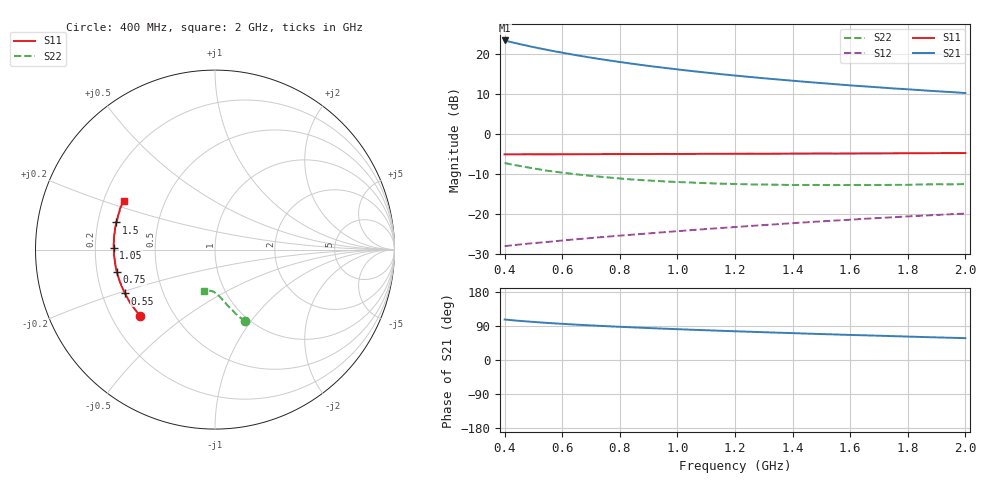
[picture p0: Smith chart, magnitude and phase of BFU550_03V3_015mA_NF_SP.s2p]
! Filename:  P:\Prog\Test\Noise\ATS_data\Testdata_Net\06 Compressed Noise after Statistics\BFU550_APG2013_43_D05_03p3V_015mA_NF_CM01_D.sf
! Date/Time: Fri 26/Apr/2013 13:07:20
! BFU550_APG2013_43_D05_03p3V_1to35mA_NF_CM01_Bias6_R.sf
! Noise Parameter Data File
! BFU550_APG2013_43_D05_03p3V_1to35mA_NF_CM01
! Date/time: Thu Apr 25 15:07:57 2013
! VAR V_out= 3.300000
! VAR I_out= 14.995000
! VAR V_in= 0.838700
! VAR I_in= 0.169000
! Device data file deembeded for feedlines and parallel
! Original file: \06 Compressed Noise after Statistics\BFU550_APG2013_43_D05_03p3V_015mA_NF_CM01_R.sf
! Feed-files: PR047V01_250413_Feed1.s2p, PR047V01_250413_Feed2.s2p
! Parallel-file: PR047V01_250413_Par.s2p
# MHz S MA R 50
!  Freq-MHz  S11-mag  S11-arg  S21-mag  S21-arg  S12-mag  S12-arg  S22-mag  S22-arg
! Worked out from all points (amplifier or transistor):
!   37 points, 400 MHz to 2 GHz, reference 50 ohm
!   highest |S21| = 23.3 dB at 400 MHz (marker M1)
!   |S21| within 3 dB of that: start of sweep to 596.2 MHz
!   unconditionally stable (mu >= 1): 1.439 GHz to end of sweep
!   at 500 MHz: K = 0.62, MSG = 24.5 dB, |S12| = -27.2 dB
!   at 1.1 GHz: K = 0.93, MSG = 19.5 dB, |S12| = -23.7 dB
!   at 2 GHz: K = 1.06, MAG = 13.5 dB, |S12| = -19.9 dB
!   lowest NFmin = 0.85 dB at 433 MHz
!   S11 on the Smith chart (normalised r, x): 400 MHz: 0.32, -0.34; 550 MHz: 0.30, -0.21; 750 MHz: 0.28, -0.10; 1.05 GHz: 0.28, +0.01; 1.5 GHz: 0.28, +0.12; 2 GHz: 0.28, +0.23
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400  0.5567 -138.5  14.67 106.8  0.03987 47.3  0.4343 -67.1
433  0.5564 -142.4  13.72 104.5  0.04113 47.1  0.4112 -69.1
460  0.5572 -145.4  13.03 102.8  0.04214 47.0  0.3954 -70.5
480  0.5582 -147.5  12.57 101.6  0.04284 47.0  0.3831 -71.5
500  0.5577 -149.4  12.12 100.5  0.04349 47.0  0.3728 -72.4
550  0.5575 -154.0  11.15 97.7  0.04502 47.4  0.3473 -74.2
600  0.5582 -157.8  10.32 95.4  0.04692 47.7  0.3296 -76.1
650  0.5595 -161.3  9.587 93.2  0.04868 48.1  0.3139 -77.9
700  0.5598 -164.1  8.95 91.3  0.05039 48.6  0.3 -79.2
750  0.5611 -167.2  8.395 89.4  0.0522 49.0  0.289 -80.7
800  0.5613 -169.7  7.901 87.6  0.05395 49.5  0.2787 -82.1
850  0.5619 -172.2  7.459 86.0  0.05567 50.0  0.2693 -83.2
900  0.5615 -174.7  7.06 84.3  0.05753 50.5  0.263 -84.5
950  0.5638 -176.7  6.714 82.8  0.05943 50.9  0.2567 -85.6
1050  0.5641 179.1  6.095 79.8  0.06323 51.7  0.2477 -87.7
1150  0.5649 175.6  5.58 77.2  0.06713 52.3  0.2401 -89.6
1200  0.5661 173.8  5.354 75.8  0.06907 52.5  0.2381 -90.7
1350  0.5678 169.1  4.778 72.1  0.07511 53.3  0.2329 -93.4
1500  0.571 164.6  4.31 68.5  0.0813 53.6  0.2313 -96.2
1600  0.571 161.6  4.037 66.2  0.08526 53.6  0.2313 -97.9
1750  0.5734 157.8  3.699 62.9  0.0915 53.8  0.2321 -100.8
2000  0.5774 152.0  3.24 57.6  0.1016 53.5  0.2374 -105.0
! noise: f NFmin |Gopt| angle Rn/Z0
400  0.9069  0.2077  -178.3  0.0761
460  0.875  0.2391  -179  0.0658
600  0.882  0.2463  -178.7  0.0655
800  0.9275  0.2741  -174.2  0.0622
1000  0.9648  0.2895  -172.5  0.0607
1200  0.9932  0.3044  -169.6  0.0612
1400  1.024  0.3282  -167.5  0.0555
1600  1.062  0.3419  -164.2  0.0623
1800  1.079  0.3633  -163.9  0.0595
2000  1.118  0.3731  -157  0.0704
